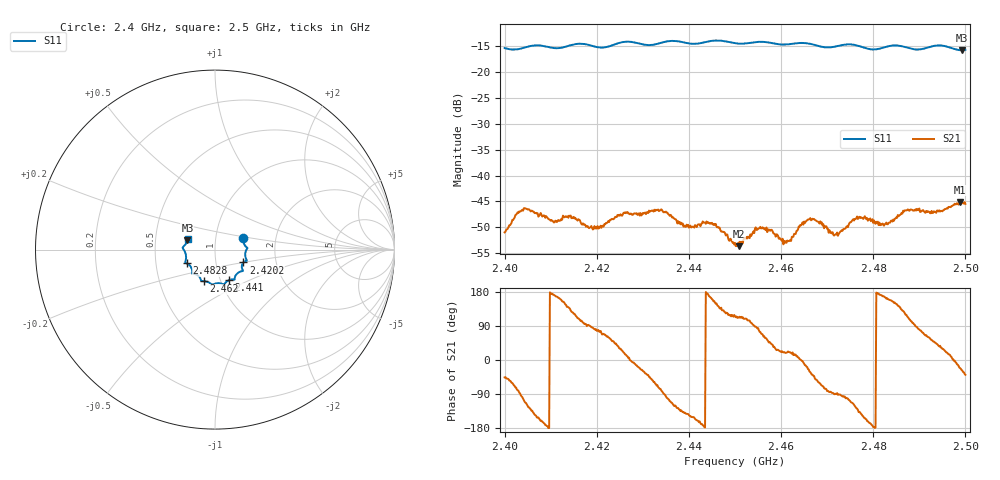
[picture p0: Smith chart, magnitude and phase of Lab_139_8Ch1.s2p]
# Hz S RI R 50
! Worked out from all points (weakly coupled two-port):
!   601 points, 2.4 GHz to 2.5 GHz, reference 50 ohm
!   highest |S21| = -45.10 dB at 2.4988 GHz (marker M1); lowest = -53.6 dB at 2.4508 GHz (marker M2)
!   lowest |S11| = -15.8 dB at 2.4993 GHz (marker M3), VSWR 1.39, Z = 36.5 + j3.89 ohm
!   |S11| at or under -10 dB: start of sweep to end of sweep
!   S12 and S22 are empty: the file has one direction only
!   S11 on the Smith chart (normalised r, x): 2.4 GHz: 1.36, +0.17; 2.4202 GHz: 1.36, -0.20; 2.441 GHz: 1.10, -0.39; 2.462 GHz: 0.83, -0.30; 2.4828 GHz: 0.72, -0.11; 2.5 GHz: 0.73, +0.09
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2.4e9  0.1583 0.0623  0.00197 -0.00203  0 0  0 0
2.404667e9  0.1731 0.0158  -0.00194 -0.00437  0 0  0 0
2.410333e9  0.171 -0.00985  -0.00365 0.000306  0 0  0 0
2.416667e9  0.1773 -0.0608  -0.000821 0.00331  0 0  0 0
2.420167e9  0.1581 -0.0715  0.000722 0.00318  0 0  0 0
2.426167e9  0.1563 -0.1181  0.00428 0.00111  0 0  0 0
2.433333e9  0.1115 -0.1511  0.00147 -0.00447  0 0  0 0
2.441e9  0.0783 -0.17  -0.00279 -0.00158  0 0  0 0
2.445333e9  0.0515 -0.194  -0.00302 0.00141  0 0  0 0
2.45e9  0.0282 -0.1877  -0.00096 0.00202  0 0  0 0
2.450833e9  0.0196 -0.1871  -0.000769 0.00194  0 0  0 0
2.4555e9  -0.0146 -0.1953  0.000896 0.00307  0 0  0 0
2.462e9  -0.0608 -0.1758  0.00224 0.000833  0 0  0 0
2.466667e9  -0.0789 -0.168  0.00293 -0.00234  0 0  0 0
2.471833e9  -0.1125 -0.1358  4.36e-05 -0.0027  0 0  0 0
2.476833e9  -0.1271 -0.1255  -0.0029 -0.00265  0 0  0 0
2.482833e9  -0.1575 -0.0765  -0.00334 0.00109  0 0  0 0
2.483333e9  -0.1608 -0.075  -0.00329 0.00121  0 0  0 0
2.487e9  -0.1632 -0.0596  -0.00229 0.00401  0 0  0 0
2.498833e9  -0.1566 0.0448  0.00517 -0.00204  0 0  0 0
2.499333e9  -0.1539 0.0519  0.0048 -0.00256  0 0  0 0
2.5e9  -0.152 0.0613  0.00413 -0.00336  0 0  0 0
